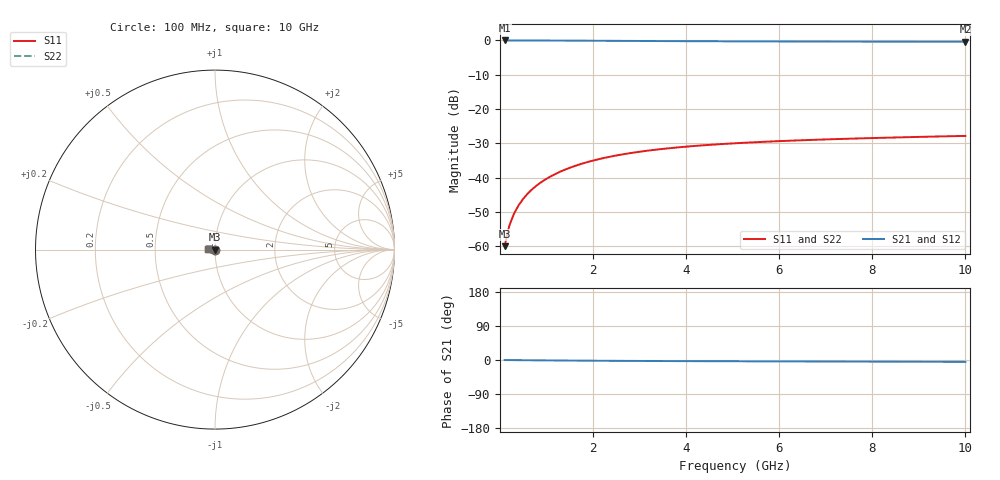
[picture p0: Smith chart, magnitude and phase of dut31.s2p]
! Touchstone file exported from HFSS 2024.1.0
!  File:  C:/UserFiles/LocalFiles/RDL_TSV_Batchsim/temp_TSV1_31_1779370021.aedt
!  Generated:  09:32:40 PM May 21, 2026
!  Design:  TSV1
!  Project:  temp_TSV1_31_1779370021
!  Setup:  Setup1
!  Solution:  Sweep
! Variables:
!  dtsv = 8.34um
!  hbump = 3um
!  htsv = 76.74um
!  lrdl = 252.1521522um
!  p = 40
!  p1 = 44.7um
!  t = 500um
!  trdl = 3um
!  wrdl = 24.89489489um
# GHz S MA R 50.000000
! Terminal data exported
! Port[1] = TSV22_T1
! Port[2] = TSV22_T2
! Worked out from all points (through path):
!   100 points, 100 MHz to 10 GHz, reference 50 ohm
!   highest |S21| = 0.00 dB at 100 MHz (marker M1); lowest = -0.4 dB at 10 GHz (marker M2)
!   lowest |S11| = -60.0 dB at 100 MHz (marker M3), VSWR 1.00, Z = 50 - j0.0982 ohm
!   |S11| at or under -10 dB: start of sweep to end of sweep
!   |S22| runs from -60.0 to -27.8 dB; largest |S21 - S12| = 5.3e-15
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0.1  0.0009975 -79.9  0.9998 -0.1  0.9998 -0.1  0.0009975 -79.9
! Gamma 0 0 0 0
! Port Impedance 50 0 50 0
0.2  0.001974 -87.2  0.9997 -0.2  0.9997 -0.2  0.001974 -87.2
0.3  0.002956 -90.9  0.9995 -0.3  0.9995 -0.3  0.002956 -90.9
0.4  0.003933 -93.7  0.9993 -0.4  0.9993 -0.4  0.003933 -93.7
0.5  0.004904 -96.0  0.999 -0.5  0.999 -0.5  0.004904 -96.0
0.6  0.005866 -98.1  0.9987 -0.6  0.9987 -0.6  0.005866 -98.1
0.7  0.006817 -100.1  0.9983 -0.7  0.9983 -0.7  0.006817 -100.1
0.8  0.007755 -102.0  0.9979 -0.8  0.9979 -0.8  0.007755 -102.0
0.9  0.00868 -103.8  0.9974 -0.9  0.9974 -0.9  0.00868 -103.8
1.1  0.01048 -107.3  0.9964 -1.1  0.9964 -1.1  0.01048 -107.3
1.4  0.01306 -112.3  0.9945 -1.4  0.9945 -1.4  0.01306 -112.3
1.6  0.01468 -115.5  0.9931 -1.6  0.9931 -1.6  0.01468 -115.5
1.8  0.01622 -118.5  0.9917 -1.7  0.9917 -1.7  0.01622 -118.5
2.1  0.01838 -122.9  0.9894 -2.0  0.9894 -2.0  0.01838 -122.9
2.5  0.02098 -128.3  0.9864 -2.2  0.9864 -2.2  0.02098 -128.3
2.9  0.02326 -133.4  0.9834 -2.5  0.9834 -2.5  0.02326 -133.4
3.4  0.02573 -139.1  0.9799 -2.7  0.9799 -2.7  0.02573 -139.1
4.2  0.02895 -147.2  0.975 -3.1  0.975 -3.1  0.02895 -147.2
5.1  0.03176 -155.0  0.9704 -3.4  0.9704 -3.4  0.03176 -155.0
6.7  0.03542 -166.3  0.9644 -3.9  0.9644 -3.9  0.03542 -166.3
8.4  0.03829 -175.9  0.9601 -4.4  0.9601 -4.4  0.03829 -175.9
10  0.04052 176.4  0.9572 -4.9  0.9572 -4.9  0.04052 176.4
